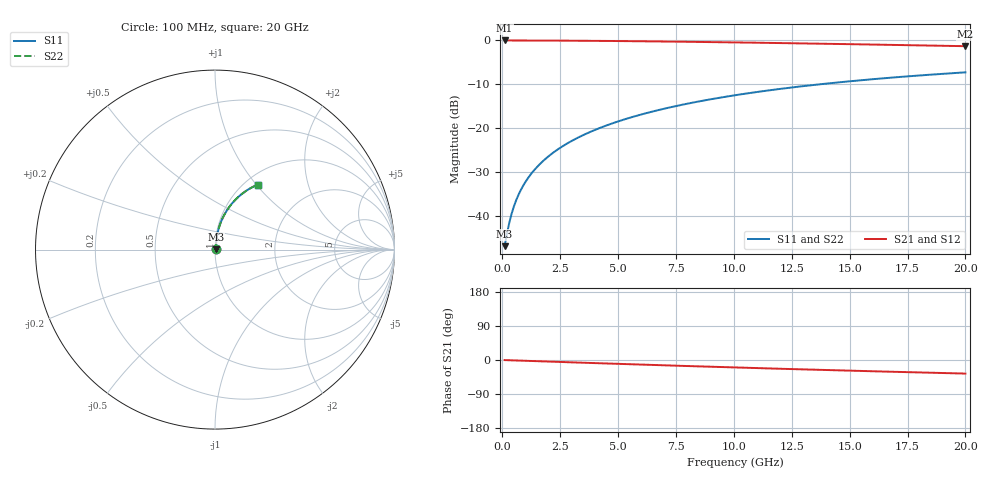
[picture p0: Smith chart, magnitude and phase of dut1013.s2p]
! Touchstone file exported from HFSS 2024.1.0
!  File:  C:/UserFiles/LocalFiles/RDL_TSV_Batchsim/temp_RDL_bottom_1013_1780050445.aedt
!  Generated:  06:29:47 PM May 29, 2026
!  Design:  RDL_bottom
!  Project:  temp_RDL_bottom_1013_1780050445
!  Setup:  Setup1
!  Solution:  Sweep
! Variables:
!  dtsv = 10.80580581um
!  hbump = 3um
!  htsv = 59.72um
!  ldown = 414.78um
!  lrdl = 100um
!  p = 40
!  p1 = 56.16um
!  rhole = 1um
!  t = 450um
!  tdown = 2.96um
!  trdl = 3.915915916um
!  wdown = 13.35um
!  wrdl = 20um
# GHz S MA R 50.000000
! Terminal data exported
! Port[1] = RDL1_T1
! Port[2] = RDL1_T2
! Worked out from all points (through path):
!   200 points, 100 MHz to 20 GHz, reference 50 ohm
!   highest |S21| = -0.03 dB at 100 MHz (marker M1); lowest = -1.3 dB at 20 GHz (marker M2)
!   group delay of S21, straight-line fit = 4.98 ps
!   lowest |S11| = -46.8 dB at 100 MHz (marker M3), VSWR 1.01, Z = 50.4 + j0.25 ohm
!   |S11| at or under -10 dB: start of sweep to 13.7 GHz
!   |S22| runs from -46.8 to -7.3 dB; largest |S21 - S12| = 3.2e-15
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0.1  0.004585 32.8  0.9961 -0.2  0.9961 -0.2  0.004585 32.8
! Gamma 0 0 0 0
! Port Impedance 50 0 50 0
0.2  0.006312 51.7  0.9961 -0.4  0.9961 -0.4  0.006312 51.7
0.3  0.008415 61.6  0.996 -0.6  0.996 -0.6  0.008415 61.6
0.4  0.01066 67.3  0.9959 -0.8  0.9959 -0.8  0.01066 67.3
0.5  0.01295 70.9  0.9958 -1.1  0.9958 -1.1  0.01295 70.9
0.6  0.01527 73.3  0.9956 -1.3  0.9956 -1.3  0.01527 73.3
0.8  0.01993 76.5  0.9953 -1.7  0.9953 -1.7  0.01993 76.5
1.1  0.02696 79.0  0.9949 -2.3  0.9949 -2.3  0.02696 79.0
1.5  0.03637 80.7  0.9942 -3.1  0.9942 -3.1  0.03637 80.7
1.8  0.04347 81.4  0.9935 -3.7  0.9935 -3.7  0.04347 81.4
2.1  0.05058 81.7  0.9928 -4.4  0.9928 -4.4  0.05058 81.7
2.7  0.06486 81.9  0.9911 -5.6  0.9911 -5.6  0.06485 81.9
3.5  0.08395 81.5  0.9882 -7.2  0.9882 -7.2  0.08395 81.5
4.2  0.1007 80.9  0.9852 -8.6  0.9852 -8.6  0.1007 80.9
5  0.1198 80.0  0.9812 -10.2  0.9812 -10.2  0.1198 80.0
5.9  0.1413 78.9  0.9761 -11.9  0.9761 -11.9  0.1413 78.8
6.8  0.1626 77.6  0.9705 -13.7  0.9705 -13.7  0.1626 77.6
8.3  0.1977 75.3  0.9602 -16.5  0.9602 -16.5  0.1977 75.2
10.1  0.2388 72.4  0.9464 -19.8  0.9464 -19.8  0.2388 72.3
13.4  0.31 67.0  0.9186 -25.5  0.9186 -25.5  0.31 67.0
16.7  0.3748 61.7  0.8886 -30.8  0.8886 -30.8  0.3747 61.7
20  0.4325 56.8  0.8576 -35.8  0.8576 -35.8  0.4324 56.7
